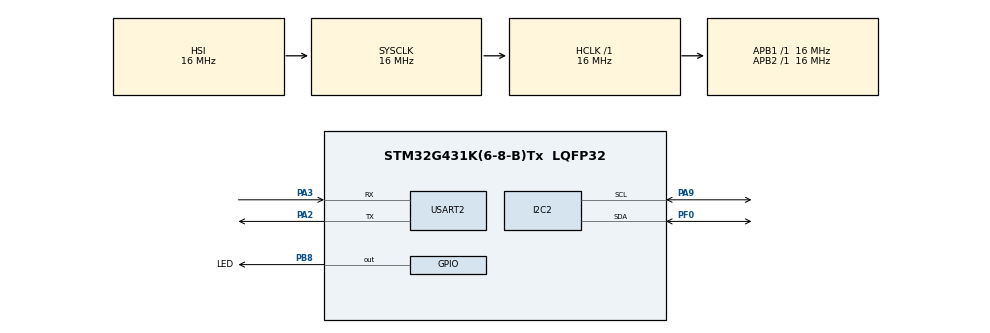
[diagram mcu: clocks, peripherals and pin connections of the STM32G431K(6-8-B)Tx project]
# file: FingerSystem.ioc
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I2C2.Timing=0x00503D58
Mcu.Family=STM32G4
Mcu.Name=STM32G431K(6-8-B)Tx
Mcu.Package=LQFP32
NVIC.PriorityGroup=NVIC_PRIORITYGROUP_4
PA2.Mode=Asynchronous
PA2.Signal=USART2_TX
PA3.Mode=Asynchronous
PA3.Signal=USART2_RX
PA9.Mode=I2C
PA9.Signal=I2C2_SCL
PB8-BOOT0.GPIO_Label=LED
PB8-BOOT0.Signal=GPIO_Output
PF0-OSC_IN.Mode=I2C
PF0-OSC_IN.Signal=I2C2_SDA
ProjectManager.HeapSize=0x200
ProjectManager.StackSize=0x400
ProjectManager.TargetToolchain=CMake
RCC.AHBFreq_Value=16000000
RCC.APB1Freq_Value=16000000
RCC.APB1TimFreq_Value=16000000
RCC.APB2Freq_Value=16000000
RCC.APB2TimFreq_Value=16000000
RCC.CortexFreq_Value=16000000
RCC.EXTERNAL_CLOCK_VALUE=12288000
RCC.HCLKFreq_Value=16000000
RCC.HSE_VALUE=8000000
RCC.HSI48_VALUE=48000000
RCC.HSI_VALUE=16000000
RCC.LSE_VALUE=32768
RCC.SYSCLKFreq_VALUE=16000000
RCC.USBFreq_Value=64000000
RCC.VCOOutputFreq_Value=128000000
USART2.VirtualMode-Asynchronous=VM_ASYNC
VP_SYS_VS_DBSignals.Mode=DisableDeadBatterySignals
board=custom

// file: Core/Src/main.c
/* USER CODE BEGIN Header */
/**
  ******************************************************************************
  * @file           : main.c
  * @brief          : Main program body
  ******************************************************************************
  * @attention
  *
  * Copyright (c) 2026 STMicroelectronics.
  * All rights reserved.
  *
  * This software is licensed under terms that can be found in the LICENSE file
  * in the root directory of this software component.
  * If no LICENSE file comes with this software, it is provided AS-IS.
  *
  ******************************************************************************
  */
/* USER CODE END Header */
#include "main.h"

/* USER CODE BEGIN Includes */
#include <stdio.h>
#include <stdint.h>
#include <string.h>
/* USER CODE END Includes */

/* USER CODE BEGIN PM */
#define IMU_ADDR       (0x6A << 1)
#define ACCEL_SENS     0.000244f    // ±8g: 0.244 mg/LSB
#define GYRO_SENS      0.070f       // ±2000 dps: 70 mdps/LSB

/* Register addresses */
#define REG_WHO_AM_I   0x0F
#define REG_CTRL1      0x10   // Accel control
#define REG_CTRL2      0x11   // Gyro control
#define REG_CTRL3      0x12   // BDU, IF_INC
#define REG_CTRL6      0x15   // Gyro full-scale
#define REG_CTRL8      0x17   // Accel full-scale
#define REG_STATUS     0x1E
#define REG_OUTX_L_G   0x22   // Gyro X low byte (burst: 22h-27h = gx,gy,gz)
#define REG_OUTZ_L_A   0x28   // Accel Z low byte (burst: 28h-2Dh = az,ay,ax)
/* USER CODE END PM */

I2C_HandleTypeDef hi2c2;

UART_HandleTypeDef huart2;

/* USER CODE BEGIN PV */
HAL_StatusTypeDef ret;
/* USER CODE END PV */

void SystemClock_Config(void);
static void MX_GPIO_Init(void);
static void MX_USART2_UART_Init(void);
static void MX_I2C2_Init(void);

/* USER CODE BEGIN 0 */

int __io_putchar(int ch) {
    HAL_UART_Transmit(&huart2, (uint8_t*)&ch, 1, HAL_MAX_DELAY);
    return ch;
}
/* USER CODE END 0 */

int main(void)
{

  /* USER CODE BEGIN 1 */
  HAL_StatusTypeDef ret;
  uint8_t buf[12];
  char msg[128];

  // /* USER CODE BEGIN 2 */

  /* USER CODE END 1 */

  /* MCU Configuration--------------------------------------------------------*/

  /* Reset of all peripherals, Initializes the Flash interface and the Systick. */
  HAL_Init();

  /* Configure the system clock */
  SystemClock_Config();

  /* Initialize all configured peripherals */
  MX_GPIO_Init();
  MX_USART2_UART_Init();
  MX_I2C2_Init();
  /* USER CODE BEGIN 2 */

  // I2C scan
// WHO_AM_I check — like the temp sensor checking HAL_OK before proceeding
  buf[0] = REG_WHO_AM_I;
  ret = HAL_I2C_Master_Transmit(&hi2c2, IMU_ADDR, buf, 1, HAL_MAX_DELAY);
  if (ret != HAL_OK) {
      HAL_UART_Transmit(&huart2, (uint8_t*)"Error: WHO_AM_I Tx\r\n", 20, HAL_MAX_DELAY);
      Error_Handler();
  }
  ret = HAL_I2C_Master_Receive(&hi2c2, IMU_ADDR, buf, 1, HAL_MAX_DELAY);
  if (ret != HAL_OK) {
      HAL_UART_Transmit(&huart2, (uint8_t*)"Error: WHO_AM_I Rx\r\n", 20, HAL_MAX_DELAY);
      Error_Handler();
  }
  if (buf[0] != 0x71) {
      sprintf(msg, "IMU not found! WHO_AM_I=0x%02X\r\n", buf[0]);
      HAL_UART_Transmit(&huart2, (uint8_t*)msg, strlen(msg), HAL_MAX_DELAY);
      Error_Handler();
  }
  HAL_UART_Transmit(&huart2, (uint8_t*)"IMU found!\r\n", 12, HAL_MAX_DELAY);

  // Configure IMU — each write checked like the temp sensor example
  // CTRL3: enable BDU (bit 6) + IF_INC (bit 4, default 1) = 0x40
  //   BDU prevents reading a high byte from one sample and low byte from the next
  buf[0] = REG_CTRL3; buf[1] = 0x40;
  if (HAL_I2C_Master_Transmit(&hi2c2, IMU_ADDR, buf, 2, HAL_MAX_DELAY) != HAL_OK) {
      HAL_UART_Transmit(&huart2, (uint8_t*)"Error: CTRL3\r\n", 14, HAL_MAX_DELAY);
      Error_Handler();
  }

  // CTRL6: gyro full-scale ±2000 dps = FS_G[3:0] = 0100 = 0x04
  buf[0] = REG_CTRL6; buf[1] = 0x04;
  if (HAL_I2C_Master_Transmit(&hi2c2, IMU_ADDR, buf, 2, HAL_MAX_DELAY) != HAL_OK) {
      HAL_UART_Transmit(&huart2, (uint8_t*)"Error: CTRL6\r\n", 14, HAL_MAX_DELAY);
      Error_Handler();
  }

  // CTRL8: accel full-scale ±8g = FS_XL[1:0] = 10 = 0x02
  buf[0] = REG_CTRL8; buf[1] = 0x02;
  if (HAL_I2C_Master_Transmit(&hi2c2, IMU_ADDR, buf, 2, HAL_MAX_DELAY) != HAL_OK) {
      HAL_UART_Transmit(&huart2, (uint8_t*)"Error: CTRL8\r\n", 14, HAL_MAX_DELAY);
      Error_Handler();
  }

  // CTRL2: gyro 120 Hz high-performance = ODR_G[3:0] = 0110 = 0x06
  buf[0] = REG_CTRL2; buf[1] = 0x06;
  if (HAL_I2C_Master_Transmit(&hi2c2, IMU_ADDR, buf, 2, HAL_MAX_DELAY) != HAL_OK) {
      HAL_UART_Transmit(&huart2, (uint8_t*)"Error: CTRL2\r\n", 14, HAL_MAX_DELAY);
      Error_Handler();
  }

  // CTRL1: accel 120 Hz high-performance = ODR_XL[3:0] = 0110 = 0x06
  buf[0] = REG_CTRL1; buf[1] = 0x06;
  if (HAL_I2C_Master_Transmit(&hi2c2, IMU_ADDR, buf, 2, HAL_MAX_DELAY) != HAL_OK) {
      HAL_UART_Transmit(&huart2, (uint8_t*)"Error: CTRL1\r\n", 14, HAL_MAX_DELAY);
      Error_Handler();
  }

/* USER CODE END 2 */

  /* Infinite loop */
  /* USER CODE BEGIN WHILE */
  while (1)
  {
    uint8_t test[] = "alive\r\n";
    HAL_UART_Transmit(&huart2, test, sizeof(test)-1, HAL_MAX_DELAY);
    HAL_Delay(500);

    // Poll STATUS_REG until both accel (bit 0) and gyro (bit 1) are ready
    // Same pattern as temp sensor: Tx register address, then Rx data
    uint8_t status = 0;
    while (!(status & 0x03)) {
        buf[0] = REG_STATUS;
        ret = HAL_I2C_Master_Transmit(&hi2c2, IMU_ADDR, buf, 1, HAL_MAX_DELAY);
        if (ret != HAL_OK) { continue; }
        ret = HAL_I2C_Master_Receive(&hi2c2, IMU_ADDR, &status, 1, HAL_MAX_DELAY);
        if (ret != HAL_OK) { status = 0; }
    }

    // Burst read 6 bytes of gyro: 0x22-0x27 (gx_L, gx_H, gy_L, gy_H, gz_L, gz_H)
    buf[0] = REG_OUTX_L_G;
    ret = HAL_I2C_Master_Transmit(&hi2c2, IMU_ADDR, buf, 1, HAL_MAX_DELAY);
    if (ret != HAL_OK) {
        HAL_UART_Transmit(&huart2, (uint8_t*)"Error Tx gyro\r\n", 15, HAL_MAX_DELAY);
        continue;
    }
    ret = HAL_I2C_Master_Receive(&hi2c2, IMU_ADDR, buf, 6, HAL_MAX_DELAY);
    if (ret != HAL_OK) {
        HAL_UART_Transmit(&huart2, (uint8_t*)"Error Rx gyro\r\n", 15, HAL_MAX_DELAY);
        continue;
    }

    int16_t gx_raw = (int16_t)(buf[1] << 8 | buf[0]);
    int16_t gy_raw = (int16_t)(buf[3] << 8 | buf[2]);
    int16_t gz_raw = (int16_t)(buf[5] << 8 | buf[4]);

    // Burst read 6 bytes of accel: 0x28-0x2D (az_L, az_H, ay_L, ay_H, ax_L, ax_H)
    // NOTE: register order from datasheet is Z, Y, X — not X, Y, Z!
    buf[0] = REG_OUTZ_L_A;
    ret = HAL_I2C_Master_Transmit(&hi2c2, IMU_ADDR, buf, 1, HAL_MAX_DELAY);
    if (ret != HAL_OK) {
        HAL_UART_Transmit(&huart2, (uint8_t*)"Error Tx accel\r\n", 16, HAL_MAX_DELAY);
        continue;
    }
    ret = HAL_I2C_Master_Receive(&hi2c2, IMU_ADDR, buf, 6, HAL_MAX_DELAY);
    if (ret != HAL_OK) {
        HAL_UART_Transmit(&huart2, (uint8_t*)"Error Rx accel\r\n", 16, HAL_MAX_DELAY);
        continue;
    }

    // Datasheet order: [0,1]=az  [2,3]=ay  [4,5]=ax
    int16_t az_raw = (int16_t)(buf[1] << 8 | buf[0]);
    int16_t ay_raw = (int16_t)(buf[3] << 8 | buf[2]);
    int16_t ax_raw = (int16_t)(buf[5] << 8 | buf[4]);

    float gx = gx_raw * GYRO_SENS;
    float gy = gy_raw * GYRO_SENS;
    float gz = gz_raw * GYRO_SENS;
    float ax = ax_raw * ACCEL_SENS;
    float ay = ay_raw * ACCEL_SENS;
    float az = az_raw * ACCEL_SENS;

    sprintf(msg, "Accel (g):  %.3f  %.3f  %.3f\r\n", ax, ay, az);
    HAL_UART_Transmit(&huart2, (uint8_t*)msg, strlen(msg), HAL_MAX_DELAY);
    sprintf(msg, "Gyro (dps): %.2f  %.2f  %.2f\r\n", gx, gy, gz);
    HAL_UART_Transmit(&huart2, (uint8_t*)msg, strlen(msg), HAL_MAX_DELAY);

    HAL_Delay(100);
  }
  /* USER CODE END WHILE */

}

void SystemClock_Config(void)
{
  RCC_OscInitTypeDef RCC_OscInitStruct = {0};
  RCC_ClkInitTypeDef RCC_ClkInitStruct = {0};

  /** Configure the main internal regulator output voltage
  */
  HAL_PWREx_ControlVoltageScaling(PWR_REGULATOR_VOLTAGE_SCALE1);

  /** Initializes the RCC Oscillators according to the specified parameters
  * in the RCC_OscInitTypeDef structure.
  */
  RCC_OscInitStruct.OscillatorType = RCC_OSCILLATORTYPE_HSI;
  RCC_OscInitStruct.HSIState = RCC_HSI_ON;
  RCC_OscInitStruct.HSICalibrationValue = RCC_HSICALIBRATION_DEFAULT;
  RCC_OscInitStruct.PLL.PLLState = RCC_PLL_NONE;
  if (HAL_RCC_OscConfig(&RCC_OscInitStruct) != HAL_OK)
  {
    Error_Handler();
  }

  /** Initializes the CPU, AHB and APB buses clocks
  */
  RCC_ClkInitStruct.ClockType = RCC_CLOCKTYPE_HCLK|RCC_CLOCKTYPE_SYSCLK
                              |RCC_CLOCKTYPE_PCLK1|RCC_CLOCKTYPE_PCLK2;
  RCC_ClkInitStruct.SYSCLKSource = RCC_SYSCLKSOURCE_HSI;
  RCC_ClkInitStruct.AHBCLKDivider = RCC_SYSCLK_DIV1;
  RCC_ClkInitStruct.APB1CLKDivider = RCC_HCLK_DIV1;
  RCC_ClkInitStruct.APB2CLKDivider = RCC_HCLK_DIV1;

  if (HAL_RCC_ClockConfig(&RCC_ClkInitStruct, FLASH_LATENCY_0) != HAL_OK)
  {
    Error_Handler();
  }
}

static void MX_I2C2_Init(void)
{

  hi2c2.Instance = I2C2;
  hi2c2.Init.Timing = 0x00503D58;
  hi2c2.Init.OwnAddress1 = 0;
  hi2c2.Init.AddressingMode = I2C_ADDRESSINGMODE_7BIT;
  hi2c2.Init.DualAddressMode = I2C_DUALADDRESS_DISABLE;
  hi2c2.Init.OwnAddress2 = 0;
  hi2c2.Init.OwnAddress2Masks = I2C_OA2_NOMASK;
  hi2c2.Init.GeneralCallMode = I2C_GENERALCALL_DISABLE;
  hi2c2.Init.NoStretchMode = I2C_NOSTRETCH_DISABLE;
  if (HAL_I2C_Init(&hi2c2) != HAL_OK)
  {
    Error_Handler();
  }

  /** Configure Analogue filter
  */
  if (HAL_I2CEx_ConfigAnalogFilter(&hi2c2, I2C_ANALOGFILTER_ENABLE) != HAL_OK)
  {
    Error_Handler();
  }

  /** Configure Digital filter
  */
  if (HAL_I2CEx_ConfigDigitalFilter(&hi2c2, 0) != HAL_OK)
  {
    Error_Handler();
  }

}

static void MX_USART2_UART_Init(void)
{

  huart2.Instance = USART2;
  huart2.Init.BaudRate = 115200;
  huart2.Init.WordLength = UART_WORDLENGTH_8B;
  huart2.Init.StopBits = UART_STOPBITS_1;
  huart2.Init.Parity = UART_PARITY_NONE;
  huart2.Init.Mode = UART_MODE_TX_RX;
  huart2.Init.HwFlowCtl = UART_HWCONTROL_NONE;
  huart2.Init.OverSampling = UART_OVERSAMPLING_16;
  huart2.Init.OneBitSampling = UART_ONE_BIT_SAMPLE_DISABLE;
  huart2.Init.ClockPrescaler = UART_PRESCALER_DIV1;
  huart2.AdvancedInit.AdvFeatureInit = UART_ADVFEATURE_NO_INIT;
  if (HAL_UART_Init(&huart2) != HAL_OK)
  {
    Error_Handler();
  }
  if (HAL_UARTEx_SetTxFifoThreshold(&huart2, UART_TXFIFO_THRESHOLD_1_8) != HAL_OK)
  {
    Error_Handler();
  }
  if (HAL_UARTEx_SetRxFifoThreshold(&huart2, UART_RXFIFO_THRESHOLD_1_8) != HAL_OK)
  {
    Error_Handler();
  }
  if (HAL_UARTEx_DisableFifoMode(&huart2) != HAL_OK)
  {
    Error_Handler();
  }

}

static void MX_GPIO_Init(void)
{
  GPIO_InitTypeDef GPIO_InitStruct = {0};

  /* GPIO Ports Clock Enable */
  __HAL_RCC_GPIOF_CLK_ENABLE();
  __HAL_RCC_GPIOA_CLK_ENABLE();
  __HAL_RCC_GPIOB_CLK_ENABLE();

  /*Configure GPIO pin Output Level */
  HAL_GPIO_WritePin(LED_GPIO_Port, LED_Pin, GPIO_PIN_RESET);

  /*Configure GPIO pin : LED_Pin */
  GPIO_InitStruct.Pin = LED_Pin;
  GPIO_InitStruct.Mode = GPIO_MODE_OUTPUT_PP;
  GPIO_InitStruct.Pull = GPIO_NOPULL;
  GPIO_InitStruct.Speed = GPIO_SPEED_FREQ_LOW;
  HAL_GPIO_Init(LED_GPIO_Port, &GPIO_InitStruct);

}

void Error_Handler(void)
{
  __disable_irq();
  while (1)
  {
  }
}
